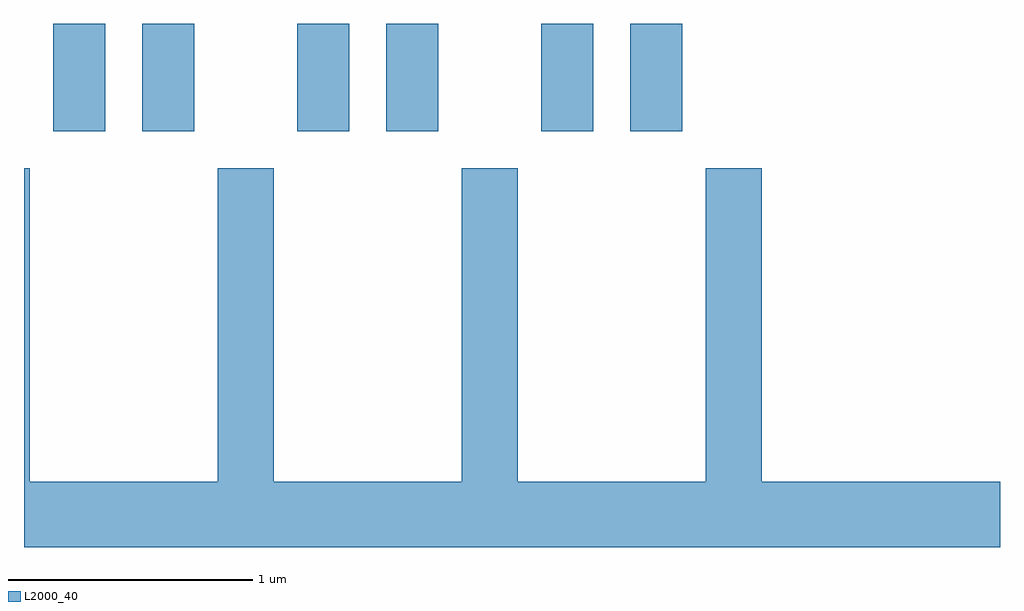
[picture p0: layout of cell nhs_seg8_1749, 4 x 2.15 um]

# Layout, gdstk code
import gdstk
lib = gdstk.Library(unit=1e-6, precision=1e-09)
def R(c, l, rs):  # rectangles x0, y0, x1, y1
    for r in rs: c.add(gdstk.rectangle(r[:2], r[2:], *l))
def P(c, l, *ps):  # polygons
    for p in ps: c.add(gdstk.Polygon(p, *l))
L2000_40 = (2000, 40)

nhs_seg8_1749 = lib.new_cell('nhs_seg8_1749')
R(nhs_seg8_1749, L2000_40, [(237.731,1835.901,237.944,1836.342), (238.096,1835.901,238.309,1836.342), (238.731,1835.901,238.944,1836.342), (239.096,1835.901,239.309,1836.342), (239.731,1835.901,239.944,1836.342), (240.096,1835.901,240.309,1836.342)])
P(nhs_seg8_1749, L2000_40, [(241.611,1834.464),(240.634,1834.464),(240.634,1835.749),(240.406,1835.749),(240.406,1834.464),(239.634,1834.464),(239.634,1835.749),(239.406,1835.749),(239.406,1834.464),(238.634,1834.464),(238.634,1835.749),(238.406,1835.749),(238.406,1834.464),(237.634,1834.464),(237.634,1835.749),(237.611,1835.749),(237.611,1834.196),(241.611,1834.196)])

lib.write_gds('nhs_seg8_1749.gds')
